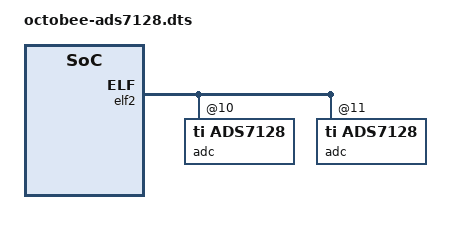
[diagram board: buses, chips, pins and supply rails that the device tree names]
// SPDX-License-Identifier: GPL-2.0
/dts-v1/;
/plugin/;       /* allow undefined label references and record them */

/* #include <dt-bindings/interrupt-controller/irq.h> */

/ {
	fragment@0 {
		target = <&elf2>;
		__overlay__ {
    			#address-cells = <1>;
			    #size-cells = <0>;

			adc@10 {
			        compatible = "ti,ads7128";
		        	reg = <0x10>;
				/*
			        avdd-supply = <&reg_stb_3v3>;
			        interrupt-parent = <&gpio2>;
			        interrupts = <12 IRQ_TYPE_LEVEL_LOW>;
				*/
			};
			adc@11 {
			        compatible = "ti,ads7128";
        			reg = <0x11>;
				/*
			        avdd-supply = <&reg_stb_3v3>;
			        interrupt-parent = <&gpio2>;
			        interrupts = <12 IRQ_TYPE_LEVEL_LOW>;
			        */
			};
		};
	};
};
